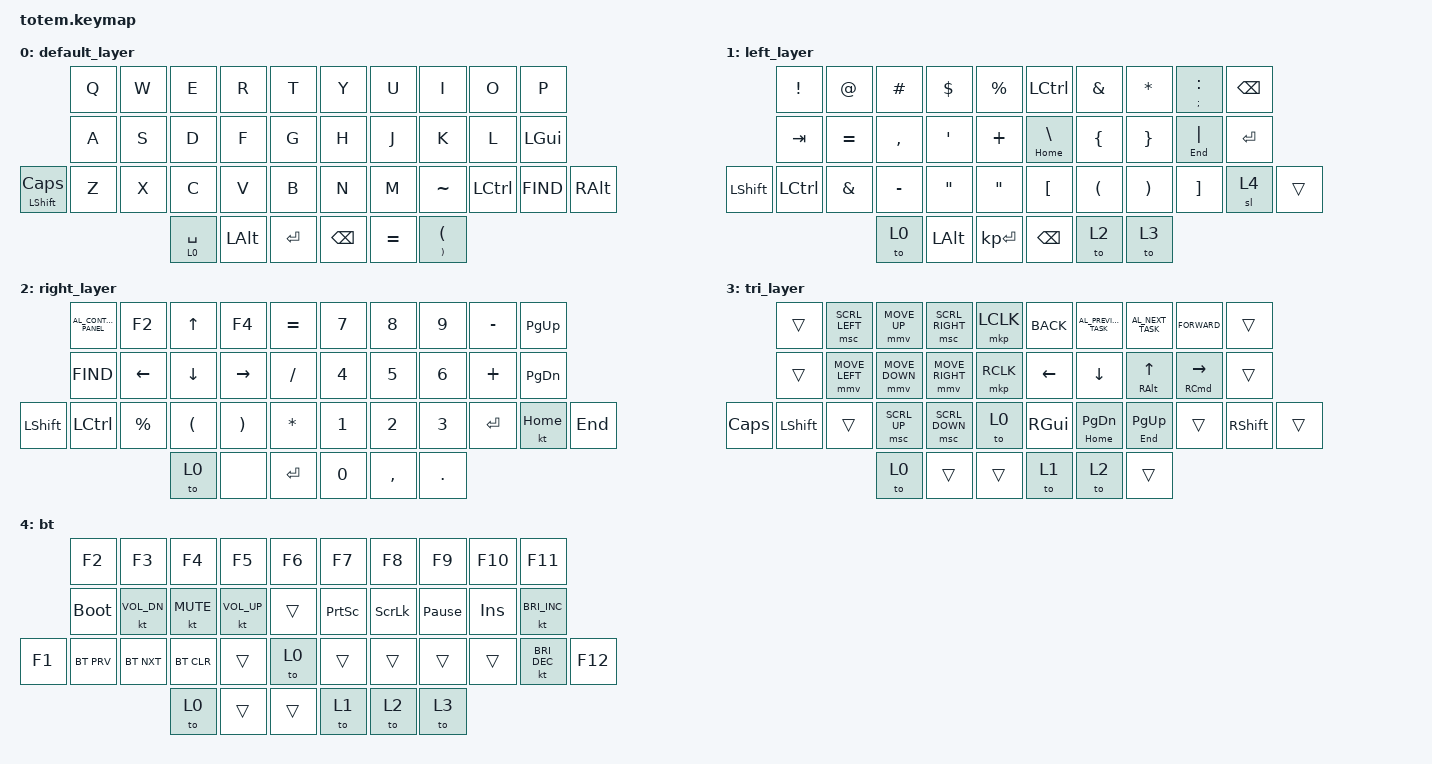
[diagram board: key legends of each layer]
/*
 * Copyright (c) 2020 The ZMK Contributors
 *
 * SPDX-License-Identifier: MIT
 */

#include <dt-bindings/zmk/mouse.h>
#include <behaviors.dtsi>
#include <dt-bindings/zmk/bt.h>
#include <dt-bindings/zmk/keys.h>
#include <dt-bindings/zmk/keys.h>
#include <dt-bindings/zmk/pointing.h>
#include <dt-bindings/zmk/pointing.h>
#include <dt-bindings/zmk/pointing.h>

&mt {
    flavor = "tap-preferred";
    tapping_term_ms = <200>;
};

/ {
    combos {
        compatible = "zmk,combos";

        combo_esc {
            timeout-ms = <50>;
            key-positions = <1 2>;
            bindings = <&kp ESC>;
            layers = <0 1 2 3>;
        };

        combo_3 {
            timeout-ms = <50>;
            key-positions = <7 8>;
            bindings = <&kp BACKSPACE>;
            layers = <2>;
        };

        combo_ent {
            timeout-ms = <50>;
            key-positions = <28 29>;
            bindings = <&kp RET>;
            layers = <2>;
        };

        combo_1 {
            timeout-ms = <50>;
            key-positions = <33 36>;
            bindings = <&to 1>;
            layers = <0 2 3 4>;
        };

        combo_left {
            timeout-ms = <50>;
            key-positions = <0 1>;
            bindings = <&kp TAB>;
            layers = <0 1 2 3>;
        };

        combo_0 {
            bindings = <&to 0>;
            key-positions = <32 37>;
            layers = <1 2 3 4>;
        };

        combo_2 {
            bindings = <&to 2>;
            key-positions = <34 35>;
            layers = <0 1 3 4>;
        };

        combo_base {
            bindings = <&kp RET>;
            key-positions = <16 17 18>;
            timeout-ms = <50>;
            layers = <0>;
        };
    };

    behaviors {
        hm: homerow_mods {
            compatible = "zmk,behavior-hold-tap";
            label = "HOMEROW_MODS";
            #binding-cells = <2>;
            tapping-term-ms = <200>;
            quick_tap_ms = <0>;
            flavor = "tap-preferred";
            bindings = <&kp>, <&kp>;
        };

        hs: homerow_shifts {
            compatible = "zmk,behavior-hold-tap";
            label = "HOMEROW_SHIFTS";
            #binding-cells = <2>;
            tapping-term-ms = <150>;
            quick_tap_ms = <0>;
            flavor = "balanced";
            bindings = <&kp>, <&kp>;
        };

        hsl: homerow_shifts_layer {
            compatible = "zmk,behavior-hold-tap";
            label = "HOMEROW_SHIFTS_LAYER";
            #binding-cells = <2>;
            tapping-term-ms = <150>;
            quick_tap_ms = <0>;
            flavor = "balanced";
            bindings = <&kp>, <&to>;
        };

        td: tapdance {
            compatible = "zmk,behavior-hold-tap";
            label = "TAPDANCE";
            #binding-cells = <2>;
            tapping-term-ms = <150>;
            quick_tap_ms = <0>;
            flavor = "tap-preferred";
            bindings = <&kp>, <&kp>;
        };

        bl: layertap {
            compatible = "zmk,behavior-hold-tap";
            label = "LAYERTAP";
            #binding-cells = <2>;
            tapping-term-ms = <150>;
            quick_tap_ms = <0>;
            flavor = "tap-preferred";
            bindings = <&to>, <&kp>;
        };
    };

    keymap {
        compatible = "zmk,keymap";

        default_layer {
            bindings = <
                     &kp Q  &kp W  &kp E        &kp R         &kp T        &kp Y          &kp U      &kp I                                   &kp O      &kp P
                     &kp A  &kp S  &kp D        &kp F         &kp G        &kp H          &kp J      &kp K                                   &kp L      &kp LEFT_GUI
&hs LEFT_SHIFT CAPS  &kp Z  &kp X  &kp C        &kp V         &kp B        &kp N          &kp M      &kp TILDE                               &kp LCTRL  &kp K_FIND    &kp RIGHT_ALT
                                   &lt 0 SPACE  &kp LEFT_ALT  &kp ENTER    &kp BACKSPACE  &kp EQUAL  &mt RIGHT_PARENTHESIS LEFT_PARENTHESIS
            >;
        };

        left_layer {
            bindings = <
                &kp EXCLAMATION  &kp AT_SIGN    &kp HASH   &kp DLLR      &kp PERCENT          &kp LCTRL           &kp AMPERSAND         &kp ASTERISK           &hm SEMICOLON COLON  &kp BACKSPACE
                &kp TAB          &kp EQUAL      &kp COMMA  &kp SQT       &kp PLUS             &hm HOME BACKSLASH  &kp LEFT_BRACE        &kp RIGHT_BRACE        &hm END PIPE         &kp ENTER
&kp LEFT_SHIFT  &kp LCTRL        &kp AMPERSAND  &kp MINUS  &kp DQT       &kp DOUBLE_QUOTES    &kp LEFT_BRACKET    &kp LEFT_PARENTHESIS  &kp RIGHT_PARENTHESIS  &kp RBKT             &sl 4          &trans
                                                &to 0      &kp LEFT_ALT  &kp KP_ENTER         &kp BACKSPACE       &to 2                 &to 3
            >;
        };

        right_layer {
            bindings = <
                &kp C_AL_CONTROL_PANEL  &kp F2     &kp UP_ARROW          &kp F4                 &kp EQUAL       &kp NUMBER_7  &kp NUMBER_8  &kp NUMBER_9  &kp MINUS  &kp PAGE_UP
                &kp K_FIND              &kp LEFT   &kp DOWN              &kp RIGHT              &kp SLASH       &kp NUMBER_4  &kp NUMBER_5  &kp NUMBER_6  &kp PLUS   &kp PAGE_DOWN
&kp LEFT_SHIFT  &kp LCTRL               &kp PRCNT  &kp LEFT_PARENTHESIS  &kp RIGHT_PARENTHESIS  &kp ASTERISK    &kp NUMBER_1  &kp NUMBER_2  &kp NUMBER_3  &kp ENTER  &kt HOME       &kp END
                                                   &to 0                 &none                  &kp ENTER       &kp NUMBER_0  &kp COMMA     &kp PERIOD
            >;
        };

        tri_layer {
            bindings = <
          &trans      &msc SCRL_LEFT  &mmv MOVE_UP    &msc SCRL_RIGHT  &mkp LCLK    &kp K_BACK  &kp C_AL_PREVIOUS_TASK  &kp C_AL_NEXT_TASK  &kp K_FORWARD            &trans
          &trans      &mmv MOVE_LEFT  &mmv MOVE_DOWN  &mmv MOVE_RIGHT  &mkp RCLK    &kp LEFT    &kp DOWN                &hm RALT UP         &hm RIGHT_COMMAND RIGHT  &trans
&kp CAPS  &kp LSHIFT  &trans          &msc SCRL_UP    &msc SCRL_DOWN   &to 0        &kp RGUI    &td HOME PG_DN          &td END PG_UP       &trans                   &kp RSHIFT  &trans
                                      &to 0           &trans           &trans       &to 1       &to 2                   &trans
            >;
        };

        bt {
            bindings = <
        &kp F2       &kp F3        &kp F4      &kp F5        &kp F6    &kp F7           &kp F8          &kp F9           &kp F10     &kp F11
        &bootloader  &kt C_VOL_DN  &kt K_MUTE  &kt C_VOL_UP  &trans    &kp PRINTSCREEN  &kp SCROLLLOCK  &kp PAUSE_BREAK  &kp INSERT  &kt C_BRIGHTNESS_INC
&kp F1  &bt BT_PRV   &bt BT_NXT    &bt BT_CLR  &trans        &to 0     &trans           &trans          &trans           &trans      &kt C_BRIGHTNESS_DEC  &kp F12
                                   &to 0       &trans        &trans    &to 1            &to 2           &to 3
            >;
        };
    };
};
